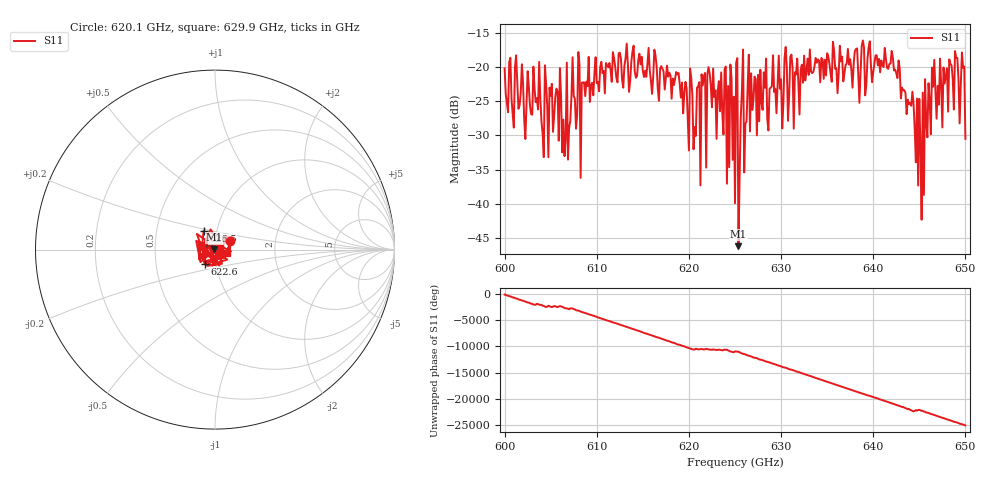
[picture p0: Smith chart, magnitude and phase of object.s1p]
!Created with skrf (http://scikit-rf.org).
# GHz S MA R 50.0
!freq magS11 angS11
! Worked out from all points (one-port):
!   401 points, 600 GHz to 650 GHz, reference 50 ohm
!   lowest |S11| = -46.1 dB at 625.4 GHz (marker M1), VSWR 1.01, Z = 49.5 + j0.0734 ohm
!   |S11| at or under -10 dB: start of sweep to end of sweep
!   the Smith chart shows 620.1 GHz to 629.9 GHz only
!   S11 on the Smith chart (normalised r, x): 620.1 GHz: 1.18, +0.12; 622.6 GHz: 0.88, -0.14; 626.5 GHz: 0.86, +0.18; 629.9 GHz: 1.14, -0.04
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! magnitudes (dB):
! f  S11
! 600 GHz  -20.2
! 602.4 GHz  -25.8
! 603.5 GHz  -24.6
! 604.1 GHz  -29.7
! 605.9 GHz  -30.8
! 606.2 GHz  -32.5
! 608.5 GHz  -22.3
! 608.9 GHz  -22.2
! 612.5 GHz  -17.9
! 618.8 GHz  -21.1
! 620.1 GHz  -20.2
! 620.6 GHz  -28.8
! 622.6 GHz  -20.2
! 625 GHz  -39.9
! 625.2 GHz  -18.7
! 625.4 GHz  -46.1
! 626.5 GHz  -18.2
! 629.9 GHz  -23.2
! 631.2 GHz  -20.2
! 637.5 GHz  -18.9
! 642 GHz  -17.7
! 643.8 GHz  -24.8
! 645.2 GHz  -42.3
! 645.9 GHz  -30.3
! 646.6 GHz  -19.0
! 649 GHz  -18.7
! 649.8 GHz  -20.1
! 650 GHz  -30.5
